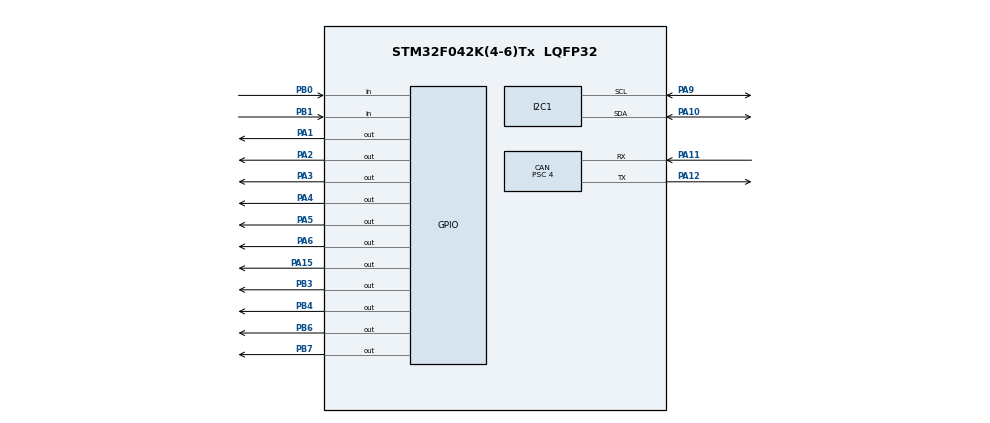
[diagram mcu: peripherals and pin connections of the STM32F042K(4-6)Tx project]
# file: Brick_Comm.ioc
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CAN.BS1=CAN_BS1_11TQ
CAN.BS2=CAN_BS2_4TQ
CAN.CalculateTimeQuantum=500.0
CAN.NART=ENABLE
CAN.Prescaler=4
CAN.TXFP=ENABLE
Mcu.Family=STM32F0
Mcu.Name=STM32F042K(4-6)Tx
Mcu.Package=LQFP32
NVIC.CEC_CAN_IRQn=true\:0\:0\:false\:false\:true\:true\:true
NVIC.I2C1_IRQn=true\:0\:0\:false\:false\:true\:true\:true
PA1.Signal=GPIO_Output
PA10.Mode=I2C
PA10.Signal=I2C1_SDA
PA11.Mode=Master
PA11.Signal=CAN_RX
PA12.Mode=Master
PA12.Signal=CAN_TX
PA15.Signal=GPIO_Output
PA2.Signal=GPIO_Output
PA3.Signal=GPIO_Output
PA4.Signal=GPIO_Output
PA5.Signal=GPIO_Output
PA6.Signal=GPIO_Output
PA9.Mode=I2C
PA9.Signal=I2C1_SCL
PB0.Signal=GPIO_Input
PB1.Signal=GPIO_Input
PB3.Signal=GPIO_Output
PB4.Signal=GPIO_Output
PB6.Signal=GPIO_Output
PB7.Signal=GPIO_Output
ProjectManager.HeapSize=0x200
ProjectManager.StackSize=0x400
ProjectManager.TargetToolchain=STM32CubeIDE
board=custom

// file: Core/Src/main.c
/* USER CODE BEGIN Header */
/**
  ******************************************************************************
  * @file           : main.c
  * @brief          : Main program body
  ******************************************************************************
  * @attention
  *
  * <h2><center>&copy; Copyright (c) 2020 STMicroelectronics.
  * All rights reserved.</center></h2>
  *
  * This software component is licensed by ST under BSD 3-Clause license,
  * the "License"; You may not use this file except in compliance with the
  * License. You may obtain a copy of the License at:
  *                        opensource.org/licenses/BSD-3-Clause
  *
  ******************************************************************************
  */
/* USER CODE END Header */
#include "main.h"

/* USER CODE BEGIN Includes */

#include "warnings.h"
#include "canFilterBankConfig.h"
#include "queue.h"

/* USER CODE END Includes */

/* USER CODE BEGIN PTD */

typedef struct
{
    CAN_TxHeaderTypeDef canTxHeader;
    uint8_t data[8];
} CanTxData;

typedef struct
{
    //  Parameters to store
    uint8_t num_data;
    uint16_t command;
    uint8_t data[8];
    uint16_t dev_address;
    uint8_t read_write;
} I2CTxData;

/* USER CODE END PTD */

/* USER CODE BEGIN PD */

#define SOLENOID_OPERATION_CAN_ID 0x204
#define SOLENOID_OPERATION_CAN_FIFO_NUMBER 0
#define SOLENOID_OPERATION_CAN_FILTER_BANK_NUMBER 0
#define POWER_BRICK_OPERATION_CAN_ID 0x205
#define POWER_BRICK_OPERATION_CAN_FIFO_NUMBER 1
#define POWER_BRICK_OPERATION_CAN_FILTER_BANK_NUMBER 1

#define POWER_BRICK_REPLY_CAN_ID 0x305

#define NUM_CAN_TX_QUEUE_MESSAGES 5
#define NUM_I2C_TX_QUEUE_MESSAGES 10

#define I2C_BRICK_0_DEVICE_ADDRESS 0x7F
#define I2C_BRICK_1_DEVICE_ADDRESS 0x23
#define I2C_TRANSACTION_TIMEOUT_MS 10000

#define SOLENOID_1_BITSHIFT 0
#define SOLENOID_2_BITSHIFT 1
#define SOLENOID_3_BITSHIFT 2
#define SOLENOID_4_BITSHIFT 3
#define SOLENOID_5_BITSHIFT 4
#define SOLENOID_6_BITSHIFT 5

#define SOLENOID_1_BITMASK (0x01 << SOLENOID_1_BITSHIFT)
#define SOLENOID_2_BITMASK (0x01 << SOLENOID_2_BITSHIFT)
#define SOLENOID_3_BITMASK (0x01 << SOLENOID_3_BITSHIFT)
#define SOLENOID_4_BITMASK (0x01 << SOLENOID_4_BITSHIFT)
#define SOLENOID_5_BITMASK (0x01 << SOLENOID_5_BITSHIFT)
#define SOLENOID_6_BITMASK (0x01 << SOLENOID_6_BITSHIFT)

/* USER CODE END PD */

CAN_HandleTypeDef hcan;

I2C_HandleTypeDef hi2c1;

/* USER CODE BEGIN PV */

queue_handle_t canTxQueueHandle;
CanTxData canTxData[NUM_CAN_TX_QUEUE_MESSAGES];
CanTxData canTxPrivateMessageToSend;

queue_handle_t i2cTxQueueHandle;
I2CTxData i2cTxDataBuffer[NUM_I2C_TX_QUEUE_MESSAGES];
I2CTxData *i2cTxPrivateMessageToSend;

int i2cTransactionReadyToStart = 1;
I2CTxData i2c_transfer_out_node;

/* USER CODE END PV */

void SystemClock_Config(void);
static void MX_GPIO_Init(void);
static void MX_CAN_Init(void);
static void MX_I2C1_Init(void);
/* USER CODE BEGIN PFP */
void CAN_ConfigureFilterForCanRecvOperation(uint32_t canId, uint32_t fifoNumber, uint32_t filterBankNumber);
void SendCANMessage(CanTxData *canTxDataToSend);

//  Interrupt Callback Functions
void CAN_FIFO0_RXMessagePendingCallback(CAN_HandleTypeDef *_hcan);
void CAN_FIFO1_RXMessagePendingCallback(CAN_HandleTypeDef *_hcan);
void CAN_TxRequestCompleteCallback(CAN_HandleTypeDef *_hcan);
void I2C_TransactionCompleteCallback(I2C_HandleTypeDef *hi2c);

/* USER CODE END PFP */

int main(void)
{

  /* MCU Configuration--------------------------------------------------------*/

  /* Reset of all peripherals, Initializes the Flash interface and the Systick. */
  HAL_Init();

  /* Configure the system clock */
  SystemClock_Config();

  /* Initialize all configured peripherals */
  MX_GPIO_Init();
  MX_CAN_Init();
  MX_I2C1_Init();
  /* USER CODE BEGIN 2 */

  //  Initialize Queues for CAN TX and I2C TX
  InitializeQueueModule();
  CreateQueue((void*)canTxData, sizeof(*canTxData), NUM_CAN_TX_QUEUE_MESSAGES, &canTxQueueHandle);
  CreateQueue((void*)i2cTxDataBuffer, sizeof(*i2cTxDataBuffer), NUM_I2C_TX_QUEUE_MESSAGES, &i2cTxQueueHandle);

  HAL_CAN_Start(&hcan);

  /* USER CODE END 2 */

  /* Infinite loop */
  /* USER CODE BEGIN WHILE */

    while (1)
    {
        if (!isQueueEmpty(i2cTxQueueHandle) && i2cTransactionReadyToStart)
        {
            i2cTransactionReadyToStart = 0;

            HAL_NVIC_DisableIRQ(CEC_CAN_IRQn);
            RemoveFromQueue(i2cTxQueueHandle, &i2c_transfer_out_node);
            HAL_NVIC_EnableIRQ(CEC_CAN_IRQn);

            if (i2c_transfer_out_node.read_write) // It's a read
            {
                HAL_I2C_Mem_Read_IT(&hi2c1, i2c_transfer_out_node.dev_address << 1, i2c_transfer_out_node.command,
                        1, i2c_transfer_out_node.data, i2c_transfer_out_node.num_data);
            }
            else // It's a write
            {
                hi2c1.Instance->CR2 |= I2C_CR2_PECBYTE;
                HAL_I2C_Mem_Write_IT(&hi2c1, i2c_transfer_out_node.dev_address << 1, i2c_transfer_out_node.command,
                        1, i2c_transfer_out_node.data, i2c_transfer_out_node.num_data + 1);
            }
      }

  }
    /* USER CODE END WHILE */

}

void SystemClock_Config(void)
{
  RCC_OscInitTypeDef RCC_OscInitStruct = {0};
  RCC_ClkInitTypeDef RCC_ClkInitStruct = {0};
  RCC_PeriphCLKInitTypeDef PeriphClkInit = {0};

  /** Initializes the RCC Oscillators according to the specified parameters
  * in the RCC_OscInitTypeDef structure.
  */
  RCC_OscInitStruct.OscillatorType = RCC_OSCILLATORTYPE_HSI;
  RCC_OscInitStruct.HSIState = RCC_HSI_ON;
  RCC_OscInitStruct.HSICalibrationValue = RCC_HSICALIBRATION_DEFAULT;
  RCC_OscInitStruct.PLL.PLLState = RCC_PLL_NONE;
  if (HAL_RCC_OscConfig(&RCC_OscInitStruct) != HAL_OK)
  {
    Error_Handler();
  }
  /** Initializes the CPU, AHB and APB buses clocks
  */
  RCC_ClkInitStruct.ClockType = RCC_CLOCKTYPE_HCLK|RCC_CLOCKTYPE_SYSCLK
                              |RCC_CLOCKTYPE_PCLK1;
  RCC_ClkInitStruct.SYSCLKSource = RCC_SYSCLKSOURCE_HSI;
  RCC_ClkInitStruct.AHBCLKDivider = RCC_SYSCLK_DIV1;
  RCC_ClkInitStruct.APB1CLKDivider = RCC_HCLK_DIV1;

  if (HAL_RCC_ClockConfig(&RCC_ClkInitStruct, FLASH_LATENCY_0) != HAL_OK)
  {
    Error_Handler();
  }
  PeriphClkInit.PeriphClockSelection = RCC_PERIPHCLK_I2C1;
  PeriphClkInit.I2c1ClockSelection = RCC_I2C1CLKSOURCE_HSI;
  if (HAL_RCCEx_PeriphCLKConfig(&PeriphClkInit) != HAL_OK)
  {
    Error_Handler();
  }
}

static void MX_CAN_Init(void)
{

  hcan.Instance = CAN;
  hcan.Init.Prescaler = 4;
  hcan.Init.Mode = CAN_MODE_NORMAL;
  hcan.Init.SyncJumpWidth = CAN_SJW_1TQ;
  hcan.Init.TimeSeg1 = CAN_BS1_11TQ;
  hcan.Init.TimeSeg2 = CAN_BS2_4TQ;
  hcan.Init.TimeTriggeredMode = DISABLE;
  hcan.Init.AutoBusOff = DISABLE;
  hcan.Init.AutoWakeUp = DISABLE;
  hcan.Init.AutoRetransmission = ENABLE;
  hcan.Init.ReceiveFifoLocked = DISABLE;
  hcan.Init.TransmitFifoPriority = ENABLE;
  if (HAL_CAN_Init(&hcan) != HAL_OK)
  {
    Error_Handler();
  }
  /* USER CODE BEGIN CAN_Init 2 */

    //  Enable FIFO0 Message Pending Interrupt and register corresponding callback
    //  Used for activating/deactivating solenoids
    HAL_CAN_ActivateNotification(&hcan, CAN_IT_RX_FIFO0_MSG_PENDING);
    HAL_CAN_RegisterCallback(&hcan, HAL_CAN_RX_FIFO0_MSG_PENDING_CB_ID, CAN_FIFO0_RXMessagePendingCallback);
    CAN_ConfigureFilterForCanRecvOperation(
        SOLENOID_OPERATION_CAN_ID,
        SOLENOID_OPERATION_CAN_FIFO_NUMBER,
        SOLENOID_OPERATION_CAN_FILTER_BANK_NUMBER);

    //  Enable FIFO1 Message Pending Interrupt and register corresponding callback
    //  Used for receiving Power Brick Communication Queries
    HAL_CAN_ActivateNotification(&hcan, CAN_IT_RX_FIFO1_MSG_PENDING);
    HAL_CAN_RegisterCallback(&hcan, HAL_CAN_RX_FIFO1_MSG_PENDING_CB_ID, CAN_FIFO1_RXMessagePendingCallback);
    CAN_ConfigureFilterForCanRecvOperation(
        POWER_BRICK_OPERATION_CAN_ID,
        POWER_BRICK_OPERATION_CAN_FIFO_NUMBER,
        POWER_BRICK_OPERATION_CAN_FILTER_BANK_NUMBER);

    //  Enable TX Request Complete Interrupt
    HAL_CAN_ActivateNotification(&hcan, CAN_IT_TX_MAILBOX_EMPTY);
    HAL_CAN_RegisterCallback(&hcan, HAL_CAN_TX_MAILBOX0_COMPLETE_CB_ID, CAN_TxRequestCompleteCallback);
    HAL_CAN_RegisterCallback(&hcan, HAL_CAN_TX_MAILBOX1_COMPLETE_CB_ID, CAN_TxRequestCompleteCallback);
    HAL_CAN_RegisterCallback(&hcan, HAL_CAN_TX_MAILBOX2_COMPLETE_CB_ID, CAN_TxRequestCompleteCallback);

  /* USER CODE END CAN_Init 2 */

}

static void MX_I2C1_Init(void)
{

  hi2c1.Instance = I2C1;
  hi2c1.Init.Timing = 0x2000090E;
  hi2c1.Init.OwnAddress1 = 0;
  hi2c1.Init.AddressingMode = I2C_ADDRESSINGMODE_7BIT;
  hi2c1.Init.DualAddressMode = I2C_DUALADDRESS_DISABLE;
  hi2c1.Init.OwnAddress2 = 0;
  hi2c1.Init.OwnAddress2Masks = I2C_OA2_NOMASK;
  hi2c1.Init.GeneralCallMode = I2C_GENERALCALL_DISABLE;
  hi2c1.Init.NoStretchMode = I2C_NOSTRETCH_DISABLE;
  if (HAL_I2C_Init(&hi2c1) != HAL_OK)
  {
    Error_Handler();
  }
  /** Configure Analogue filter
  */
  if (HAL_I2CEx_ConfigAnalogFilter(&hi2c1, I2C_ANALOGFILTER_ENABLE) != HAL_OK)
  {
    Error_Handler();
  }
  /** Configure Digital filter
  */
  if (HAL_I2CEx_ConfigDigitalFilter(&hi2c1, 0) != HAL_OK)
  {
    Error_Handler();
  }
  /* USER CODE BEGIN I2C1_Init 2 */

  HAL_I2C_RegisterCallback(&hi2c1, HAL_I2C_MEM_TX_COMPLETE_CB_ID, I2C_TransactionCompleteCallback);
  HAL_I2C_RegisterCallback(&hi2c1, HAL_I2C_MEM_RX_COMPLETE_CB_ID, I2C_TransactionCompleteCallback);

  __HAL_I2C_DISABLE(&hi2c1);
  hi2c1.Instance->CR1 |= I2C_CR1_PECEN;
  __HAL_I2C_ENABLE(&hi2c1);

  /* USER CODE END I2C1_Init 2 */

}

static void MX_GPIO_Init(void)
{
  GPIO_InitTypeDef GPIO_InitStruct = {0};

  /* GPIO Ports Clock Enable */
  __HAL_RCC_GPIOA_CLK_ENABLE();
  __HAL_RCC_GPIOB_CLK_ENABLE();

  /*Configure GPIO pin Output Level */
  HAL_GPIO_WritePin(GPIOA, GPIO_PIN_1|GPIO_PIN_2|GPIO_PIN_3|GPIO_PIN_4
                          |GPIO_PIN_5|GPIO_PIN_6|GPIO_PIN_15, GPIO_PIN_RESET);

  /*Configure GPIO pin Output Level */
  HAL_GPIO_WritePin(GPIOB, GPIO_PIN_3|GPIO_PIN_4|GPIO_PIN_6|GPIO_PIN_7, GPIO_PIN_RESET);

  /*Configure GPIO pins : PA1 PA2 PA3 PA4
                           PA5 PA6 PA15 */
  GPIO_InitStruct.Pin = GPIO_PIN_1|GPIO_PIN_2|GPIO_PIN_3|GPIO_PIN_4
                          |GPIO_PIN_5|GPIO_PIN_6|GPIO_PIN_15;
  GPIO_InitStruct.Mode = GPIO_MODE_OUTPUT_PP;
  GPIO_InitStruct.Pull = GPIO_NOPULL;
  GPIO_InitStruct.Speed = GPIO_SPEED_FREQ_LOW;
  HAL_GPIO_Init(GPIOA, &GPIO_InitStruct);

  /*Configure GPIO pins : PB0 PB1 */
  GPIO_InitStruct.Pin = GPIO_PIN_0|GPIO_PIN_1;
  GPIO_InitStruct.Mode = GPIO_MODE_INPUT;
  GPIO_InitStruct.Pull = GPIO_NOPULL;
  HAL_GPIO_Init(GPIOB, &GPIO_InitStruct);

  /*Configure GPIO pins : PB3 PB4 PB6 PB7 */
  GPIO_InitStruct.Pin = GPIO_PIN_3|GPIO_PIN_4|GPIO_PIN_6|GPIO_PIN_7;
  GPIO_InitStruct.Mode = GPIO_MODE_OUTPUT_PP;
  GPIO_InitStruct.Pull = GPIO_NOPULL;
  GPIO_InitStruct.Speed = GPIO_SPEED_FREQ_LOW;
  HAL_GPIO_Init(GPIOB, &GPIO_InitStruct);

}

/* USER CODE BEGIN 4 */

void CAN_ConfigureFilterForCanRecvOperation(uint32_t canId, uint32_t fifoNumber, uint32_t filterBankNumber)
{
    CAN_FilterTypeDef thrusterOperationFilter;
    CAN_FilterBank canFilterBank;
    CAN_FilterIDMaskConfig canFilterId;
    CAN_FilterIDMaskConfig canFilterMask;

    //  Configure Filter Bank Parameters except ID and Mask
    thrusterOperationFilter.FilterFIFOAssignment = fifoNumber;
    thrusterOperationFilter.FilterBank = filterBankNumber;
    thrusterOperationFilter.FilterMode = CAN_FILTERMODE_IDMASK;
    thrusterOperationFilter.FilterScale = CAN_FILTERSCALE_32BIT;
    thrusterOperationFilter.FilterActivation = CAN_FILTER_ENABLE;

    //  Configure only ID and Mask Filter Bank Parameters
    canFilterBank.filterMode = CANIDFilterMode_32BitMask;

    canFilterId.stdId = canId;
    canFilterId.extId = 0;
    canFilterId.ide = CAN_IDE_CLEAR;
    canFilterId.rtr = CAN_RTR_CLEAR;

    canFilterMask.stdId = 0x7FF;
    canFilterMask.extId = 0;
    canFilterMask.ide = CAN_IDE_CLEAR;
    canFilterMask.rtr = CAN_RTR_CLEAR;

    canFilterBank.id1 = &canFilterId;
    canFilterBank.mask1 = &canFilterMask;

    CAN_ConfigureFilterBank(&thrusterOperationFilter, &canFilterBank);
    HAL_CAN_ConfigFilter(&hcan, &thrusterOperationFilter);
}

//  Handles ONLY the reception of solenoid Operation Packets
void CAN_FIFO0_RXMessagePendingCallback(CAN_HandleTypeDef *_hcan)
{
	uint32_t data32;
    uint8_t *data = (uint8_t *)&data32;

    data32 = CAN_RDL0R_DATA0 & _hcan->Instance->sFIFOMailBox[0].RDLR;
    /*
     * NOTE: NEED TO CHECK IF TRICK TO PERFORM FEWER REGISTER READS SWITCHES DATA ORDER DUE TO ENDIANNESS.
    data[0] = (uint8_t)((CAN_RDL0R_DATA0 & _hcan->Instance->sFIFOMailBox[0].RDLR) >> CAN_RDL0R_DATA0_Pos);
    data[1] = (uint8_t)((CAN_RDL0R_DATA1 & _hcan->Instance->sFIFOMailBox[0].RDLR) >> CAN_RDL0R_DATA1_Pos);
    data[2] = (uint8_t)((CAN_RDL0R_DATA2 & _hcan->Instance->sFIFOMailBox[0].RDLR) >> CAN_RDL0R_DATA2_Pos);
    data[3] = (uint8_t)((CAN_RDL0R_DATA3 & _hcan->Instance->sFIFOMailBox[0].RDLR) >> CAN_RDL0R_DATA3_Pos);
    */

    /*
     * Solenoid Control Code
     */

    HAL_GPIO_WritePin(GPIOA, GPIO_PIN_15, GPIO_PIN_SET);
    // HAL_GPIO_TogglePin(GPIOA, GPIO_PIN_15);

    //  Release Output Mailbox
    SET_BIT(_hcan->Instance->RF0R, CAN_RF0R_RFOM0);

    uint8_t solenoidControlByte;

    solenoidControlByte = (uint8_t)((CAN_RDH0R_DATA7 & _hcan->Instance->sFIFOMailBox[0].RDHR) >> CAN_RDH0R_DATA7_Pos);
    //SET_BIT(_hcan->Instance->RF0R, CAN_RF0R_RFOM0);

    HAL_GPIO_WritePin(GPIOA, GPIO_PIN_1, (solenoidControlByte & SOLENOID_1_BITMASK) >> SOLENOID_1_BITSHIFT);
    HAL_GPIO_WritePin(GPIOA, GPIO_PIN_2, (solenoidControlByte & SOLENOID_2_BITMASK) >> SOLENOID_2_BITSHIFT);
    HAL_GPIO_WritePin(GPIOA, GPIO_PIN_3, (solenoidControlByte & SOLENOID_3_BITMASK) >> SOLENOID_3_BITSHIFT);
    HAL_GPIO_WritePin(GPIOA, GPIO_PIN_4, (solenoidControlByte & SOLENOID_4_BITMASK) >> SOLENOID_4_BITSHIFT);
    HAL_GPIO_WritePin(GPIOA, GPIO_PIN_5, (solenoidControlByte & SOLENOID_5_BITMASK) >> SOLENOID_5_BITSHIFT);
    HAL_GPIO_WritePin(GPIOA, GPIO_PIN_6, (solenoidControlByte & SOLENOID_6_BITMASK) >> SOLENOID_6_BITSHIFT);
}

//  Handles ONLY to reception of power brick communication packets
void CAN_FIFO1_RXMessagePendingCallback(CAN_HandleTypeDef *_hcan)
{
    uint8_t data[4];
    uint32_t numBytesReceived;
    I2CTxData i2cTxData;

    numBytesReceived = (CAN_RDT1R_DLC & _hcan->Instance->sFIFOMailBox[1].RDTR) >> CAN_RDT1R_DLC_Pos;

    data[0] = (uint8_t)((CAN_RDL1R_DATA0 & _hcan->Instance->sFIFOMailBox[1].RDLR) >> CAN_RDL1R_DATA0_Pos);
    data[1] = (uint8_t)((CAN_RDL1R_DATA1 & _hcan->Instance->sFIFOMailBox[1].RDLR) >> CAN_RDL1R_DATA1_Pos);
    data[2] = (uint8_t)((CAN_RDL1R_DATA2 & _hcan->Instance->sFIFOMailBox[1].RDLR) >> CAN_RDL1R_DATA2_Pos);
    data[3] = (uint8_t)((CAN_RDL1R_DATA3 & _hcan->Instance->sFIFOMailBox[1].RDLR) >> CAN_RDL1R_DATA3_Pos);

    //  Release Output Mailbox
    SET_BIT(_hcan->Instance->RF1R, CAN_RF1R_RFOM1);

    i2cTxData.data[0] = data[2];
    i2cTxData.data[1] = data[3];
    i2cTxData.command = (uint16_t)data[1];
    i2cTxData.dev_address = ((data[0] & 0x01) != 0x00) ? I2C_BRICK_1_DEVICE_ADDRESS : I2C_BRICK_0_DEVICE_ADDRESS;
    i2cTxData.read_write = (data[0] & 0x02) >> 1;
    i2cTxData.num_data = numBytesReceived - 2;
    AddToQueue(i2cTxQueueHandle, &i2cTxData);

    //HAL_GPIO_WritePin(GPIOA, GPIO_PIN_15, GPIO_PIN_SET);
    // HAL_GPIO_TogglePin(GPIOA, GPIO_PIN_15);
}

void SendCANMessage(CanTxData* canTxDataToSend)
{
    uint32_t txMailboxNumber;

    if (HAL_CAN_GetTxMailboxesFreeLevel(&hcan) > 0 && isQueueEmpty(canTxQueueHandle))
    {
        HAL_CAN_AddTxMessage(&hcan, &(canTxDataToSend->canTxHeader), canTxDataToSend->data, &txMailboxNumber);
    }
    else
    {
        if (AddToQueue(canTxQueueHandle, canTxDataToSend) != QUEUE_SUCCESS)
        {
            ; //  Queue is Full
        }
    }
}

void CAN_TxRequestCompleteCallback(CAN_HandleTypeDef *_hcan)
{
    uint32_t txMailboxNumber;
    CanTxData canTxDataToSend;

    if (!isQueueEmpty(canTxQueueHandle) && HAL_CAN_GetTxMailboxesFreeLevel(_hcan) > 0)
    {
        RemoveFromQueue(canTxQueueHandle, (void*)&canTxDataToSend);
        HAL_CAN_AddTxMessage(_hcan, &(canTxDataToSend.canTxHeader), canTxDataToSend.data, &txMailboxNumber);
    }
}

void I2C_TransactionCompleteCallback(I2C_HandleTypeDef *hi2c)
{
    (void)hi2c;
    CanTxData canTxMessage;

    canTxMessage.canTxHeader.StdId = POWER_BRICK_REPLY_CAN_ID;
    canTxMessage.canTxHeader.DLC = i2c_transfer_out_node.num_data + 2;
    canTxMessage.canTxHeader.IDE = CAN_ID_STD;
    canTxMessage.canTxHeader.RTR = CAN_RTR_DATA;

    canTxMessage.data[0] = i2c_transfer_out_node.num_data << 2;
    canTxMessage.data[0] |= i2c_transfer_out_node.read_write << 1;
    canTxMessage.data[0] |= (i2c_transfer_out_node.dev_address == I2C_BRICK_0_DEVICE_ADDRESS) ? 0 : 1;

    canTxMessage.data[1] = i2c_transfer_out_node.command;
    for (int i = 0; i < i2c_transfer_out_node.num_data; i++)
    {
        canTxMessage.data[i + 2] = i2c_transfer_out_node.data[i];
    }

    HAL_NVIC_DisableIRQ(CEC_CAN_IRQn);
    SendCANMessage(&canTxMessage);
    HAL_NVIC_EnableIRQ(CEC_CAN_IRQn);

    i2cTransactionReadyToStart = 1;
}

/* USER CODE END 4 */

void Error_Handler(void)
{
}

/************************ (C) COPYRIGHT STMicroelectronics *****END OF FILE****/
